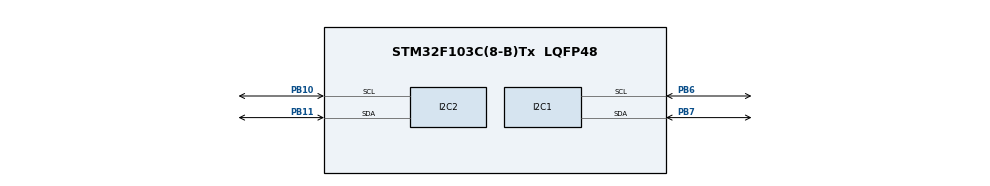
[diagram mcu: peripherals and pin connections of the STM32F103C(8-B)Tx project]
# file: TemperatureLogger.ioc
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I2C1.I2C_Mode=I2C_Fast
I2C2.I2C_Mode=I2C_Fast
Mcu.Family=STM32F1
Mcu.Name=STM32F103C(8-B)Tx
Mcu.Package=LQFP48
NVIC.PriorityGroup=NVIC_PRIORITYGROUP_4
NVIC.TIM2_IRQn=true\:0\:0\:false\:false\:true\:true\:true\:true
PB10.Mode=I2C
PB10.Signal=I2C2_SCL
PB11.Mode=I2C
PB11.Signal=I2C2_SDA
PB6.Mode=I2C
PB6.Signal=I2C1_SCL
PB7.Mode=I2C
PB7.Signal=I2C1_SDA
ProjectManager.HeapSize=0x200
ProjectManager.StackSize=0x400
ProjectManager.TargetToolchain=STM32CubeIDE
RCC.APB1Freq_Value=8000000
RCC.APB2Freq_Value=8000000
TIM2.Period=999
TIM2.Prescaler=799
VP_SYS_VS_ND.Mode=No_Debug
VP_TIM2_VS_ClockSourceINT.Mode=Internal
board=custom

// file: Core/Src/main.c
/* USER CODE BEGIN Header */
/**
  ******************************************************************************
  * @file           : main.c
  * @brief          : Main program body
  ******************************************************************************
  * @attention
  *
  * Copyright (c) 2025 STMicroelectronics.
  * All rights reserved.
  *
  * This software is licensed under terms that can be found in the LICENSE file
  * in the root directory of this software component.
  * If no LICENSE file comes with this software, it is provided AS-IS.
  *
  ******************************************************************************
  */
/* USER CODE END Header */
#include "main.h"

/* USER CODE BEGIN Includes */
#include <stdint.h>
#include <stdio.h>
#include "string.h"
#include "24fc256.h"
#include "tmp100.h"
/* USER CODE END Includes */

I2C_HandleTypeDef hi2c1;
I2C_HandleTypeDef hi2c2;

TIM_HandleTypeDef htim2;

/* USER CODE BEGIN PV */
uint16_t second_counter = 0;
EEPROM_Handle eeprom_handle;
/* USER CODE END PV */

void SystemClock_Config(void);
static void MX_GPIO_Init(void);
static void MX_I2C1_Init(void); //EEPROM
static void MX_I2C2_Init(void); //TMP100
static void MX_TIM2_Init(void);

int main(void)
{

  /* MCU Configuration--------------------------------------------------------*/

  /* Reset of all peripherals, Initializes the Flash interface and the Systick. */
  HAL_Init();

  /* Configure the system clock */
  SystemClock_Config();

  /* Initialize all configured peripherals */
  MX_GPIO_Init();
  MX_I2C1_Init();
  MX_I2C2_Init();
  MX_TIM2_Init();
  /* USER CODE BEGIN 2 */
  if((TMP100_CheckStatus(&hi2c2) == TMP_READY) && (EEPROM_Init(&hi2c1, &eeprom_handle) == HAL_OK)){ //check if the TMP100 is available and also the restore eeprom pointer after last boot
	  HAL_TIM_Base_Start_IT(&htim2);  // start timer with interrupt
  }

  /* USER CODE END 2 */

  /* Infinite loop */
  while (1)
  {

  }
}

void SystemClock_Config(void)
{
  RCC_OscInitTypeDef RCC_OscInitStruct = {0};
  RCC_ClkInitTypeDef RCC_ClkInitStruct = {0};

  /** Initializes the RCC Oscillators according to the specified parameters
  * in the RCC_OscInitTypeDef structure.
  */
  RCC_OscInitStruct.OscillatorType = RCC_OSCILLATORTYPE_HSI;
  RCC_OscInitStruct.HSIState = RCC_HSI_ON;
  RCC_OscInitStruct.HSICalibrationValue = RCC_HSICALIBRATION_DEFAULT;
  RCC_OscInitStruct.PLL.PLLState = RCC_PLL_NONE;
  if (HAL_RCC_OscConfig(&RCC_OscInitStruct) != HAL_OK)
  {
    Error_Handler();
  }

  /** Initializes the CPU, AHB and APB buses clocks
  */
  RCC_ClkInitStruct.ClockType = RCC_CLOCKTYPE_HCLK|RCC_CLOCKTYPE_SYSCLK
                              |RCC_CLOCKTYPE_PCLK1|RCC_CLOCKTYPE_PCLK2;
  RCC_ClkInitStruct.SYSCLKSource = RCC_SYSCLKSOURCE_HSI;
  RCC_ClkInitStruct.AHBCLKDivider = RCC_SYSCLK_DIV1;
  RCC_ClkInitStruct.APB1CLKDivider = RCC_HCLK_DIV1;
  RCC_ClkInitStruct.APB2CLKDivider = RCC_HCLK_DIV1;

  if (HAL_RCC_ClockConfig(&RCC_ClkInitStruct, FLASH_LATENCY_0) != HAL_OK)
  {
    Error_Handler();
  }
}

static void MX_I2C1_Init(void)
{

  hi2c1.Instance = I2C1;
  hi2c1.Init.ClockSpeed = 400000;
  hi2c1.Init.DutyCycle = I2C_DUTYCYCLE_2;
  hi2c1.Init.OwnAddress1 = 0;
  hi2c1.Init.AddressingMode = I2C_ADDRESSINGMODE_7BIT;
  hi2c1.Init.DualAddressMode = I2C_DUALADDRESS_DISABLE;
  hi2c1.Init.OwnAddress2 = 0;
  hi2c1.Init.GeneralCallMode = I2C_GENERALCALL_DISABLE;
  hi2c1.Init.NoStretchMode = I2C_NOSTRETCH_DISABLE;
  if (HAL_I2C_Init(&hi2c1) != HAL_OK)
  {
    Error_Handler();
  }

}

static void MX_I2C2_Init(void)
{

  hi2c2.Instance = I2C2;
  hi2c2.Init.ClockSpeed = 400000;
  hi2c2.Init.DutyCycle = I2C_DUTYCYCLE_2;
  hi2c2.Init.OwnAddress1 = 0;
  hi2c2.Init.AddressingMode = I2C_ADDRESSINGMODE_7BIT;
  hi2c2.Init.DualAddressMode = I2C_DUALADDRESS_DISABLE;
  hi2c2.Init.OwnAddress2 = 0;
  hi2c2.Init.GeneralCallMode = I2C_GENERALCALL_DISABLE;
  hi2c2.Init.NoStretchMode = I2C_NOSTRETCH_DISABLE;
  if (HAL_I2C_Init(&hi2c2) != HAL_OK)
  {
    Error_Handler();
  }

}

static void MX_TIM2_Init(void)
{

  TIM_ClockConfigTypeDef sClockSourceConfig = {0};
  TIM_MasterConfigTypeDef sMasterConfig = {0};

  htim2.Instance = TIM2;
  htim2.Init.Prescaler = 799;
  htim2.Init.CounterMode = TIM_COUNTERMODE_UP;
  htim2.Init.Period = 999;
  htim2.Init.ClockDivision = TIM_CLOCKDIVISION_DIV1;
  htim2.Init.AutoReloadPreload = TIM_AUTORELOAD_PRELOAD_DISABLE;
  if (HAL_TIM_Base_Init(&htim2) != HAL_OK)
  {
    Error_Handler();
  }
  sClockSourceConfig.ClockSource = TIM_CLOCKSOURCE_INTERNAL;
  if (HAL_TIM_ConfigClockSource(&htim2, &sClockSourceConfig) != HAL_OK)
  {
    Error_Handler();
  }
  sMasterConfig.MasterOutputTrigger = TIM_TRGO_RESET;
  sMasterConfig.MasterSlaveMode = TIM_MASTERSLAVEMODE_DISABLE;
  if (HAL_TIMEx_MasterConfigSynchronization(&htim2, &sMasterConfig) != HAL_OK)
  {
    Error_Handler();
  }

}

static void MX_GPIO_Init(void)
{

  /* GPIO Ports Clock Enable */
  __HAL_RCC_GPIOB_CLK_ENABLE();

}

/* USER CODE BEGIN 4 */
void HAL_TIM_PeriodElapsedCallback(TIM_HandleTypeDef *htim)
{
  if (htim->Instance == TIM2)
  {
    second_counter++;

    if (second_counter >= 600)  // 10 minutes 1sec timer
    {
      second_counter = 0;

      float temp = 0.0;
      if(TMP100_ReadTemperature_OneShot(&hi2c2, &temp) == TMP_READY)
      {

    	  int16_t temp_fixed = (int16_t)(temp * 100);
    	  uint8_t data[2] = {
    			  (uint8_t)(temp_fixed >> 8),
				  (uint8_t)(temp_fixed & 0xFF)
    	  	  	  };
    	  EEPROM_WriteBytes(&hi2c1,  &eeprom_handle, data, 2);
      }
      else{
    	  printf("TMP100 I2C Read Failed!\r\n");
      }
    }
  }
}
/* USER CODE END 4 */

void Error_Handler(void)
{
  __disable_irq();
  while (1)
  {
  }
}
